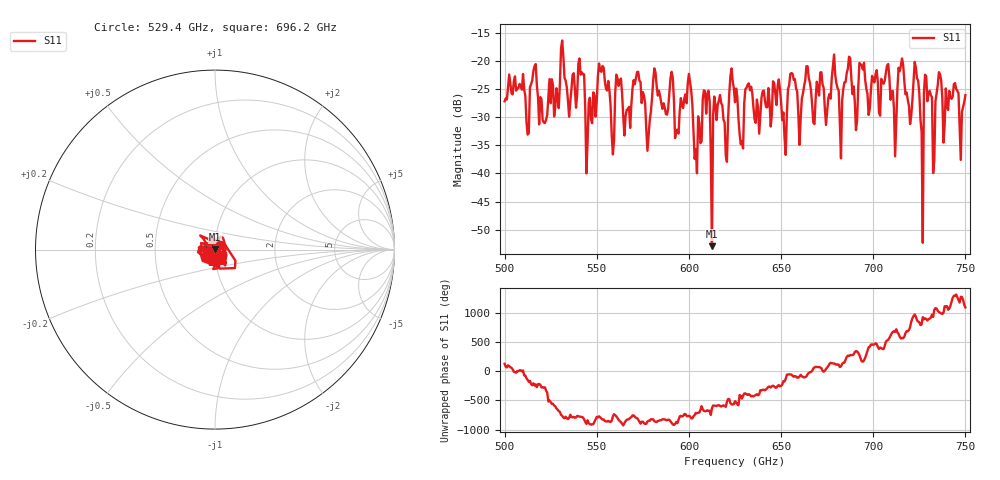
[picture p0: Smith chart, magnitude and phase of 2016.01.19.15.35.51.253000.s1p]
!Created with skrf (http://scikit-rf.org).
# GHz S RI R 50.0
!freq ReS11 ImS11
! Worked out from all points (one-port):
!   401 points, 500 GHz to 750 GHz, reference 50 ohm
!   lowest |S11| = -52.9 dB at 612.5 GHz (marker M1), VSWR 1.00, Z = 50 + j0.226 ohm
!   |S11| at or under -10 dB: start of sweep to end of sweep
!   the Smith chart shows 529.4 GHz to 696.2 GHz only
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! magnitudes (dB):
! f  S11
! 500 GHz  -27.2
! 516.2 GHz  -20.9
! 521.9 GHz  -31.1
! 531.2 GHz  -16.4
! 541.9 GHz  -22.0
! 545.6 GHz  -27.5
! 552.5 GHz  -22.0
! 558.1 GHz  -33.3
! 562.5 GHz  -23.5
! 565.6 GHz  -29.9
! 572.5 GHz  -21.9
! 578.1 GHz  -33.3
! 581.2 GHz  -21.3
! 590.6 GHz  -21.9
! 593.8 GHz  -32.3
! 600.6 GHz  -23.9
! 603.1 GHz  -37.4
! 609.4 GHz  -29.4
! 612.5 GHz  -52.9
! 625 GHz  -27.4
! 628.1 GHz  -34.8
! 632.5 GHz  -24.0
! 651.9 GHz  -33.6
! 656.2 GHz  -22.3
! 682.5 GHz  -37.3
! 687.5 GHz  -19.5
! 718.8 GHz  -26.9
! 750 GHz  -26.1
